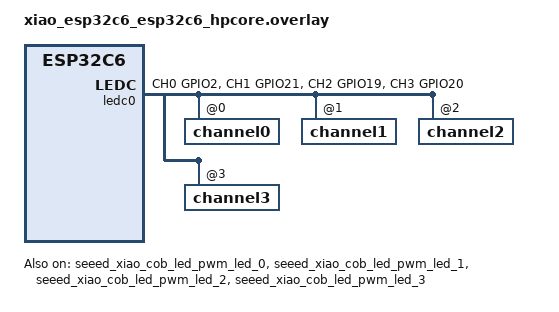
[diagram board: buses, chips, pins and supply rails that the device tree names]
/*
 * SPDX-FileCopyrightText: Copyright The Zephyr Project Contributors
 * SPDX-License-Identifier: Apache-2.0
 */

#include <zephyr/dt-bindings/pinctrl/esp32c6-pinctrl.h>
#include <zephyr/dt-bindings/pwm/pwm.h>

&seeed_xiao_cob_led_pwm_led_0 {
	status = "okay";
	pwms = <&ledc0 0 PWM_HZ(250) PWM_POLARITY_INVERTED>;
};

&seeed_xiao_cob_led_pwm_led_1 {
	status = "okay";
	pwms = <&ledc0 1 PWM_HZ(250) PWM_POLARITY_INVERTED>;
};

&seeed_xiao_cob_led_pwm_led_2 {
	status = "okay";
	pwms = <&ledc0 2 PWM_HZ(250) PWM_POLARITY_INVERTED>;
};

&seeed_xiao_cob_led_pwm_led_3 {
	status = "okay";
	pwms = <&ledc0 3 PWM_HZ(250) PWM_POLARITY_INVERTED>;
};

&pinctrl {
	cob_ledc0_default: cob_ledc0_default {
		group1 {
			pinmux = <LEDC_CH0_GPIO2>,
				 <LEDC_CH1_GPIO21>,
				 <LEDC_CH2_GPIO19>,
				 <LEDC_CH3_GPIO20>;
			output-enable;
		};
	};
};

&ledc0 {
	pinctrl-0 = <&cob_ledc0_default>;
	pinctrl-names = "default";
	status = "okay";
	#address-cells = <1>;
	#size-cells = <0>;

	channel0@0 {
		reg = <0x0>;
		timer = <0>;
	};

	channel1@1 {
		reg = <0x1>;
		timer = <0>;
	};

	channel2@2 {
		reg = <0x2>;
		timer = <1>;
	};

	channel3@3 {
		reg = <0x3>;
		timer = <1>;
	};
};
